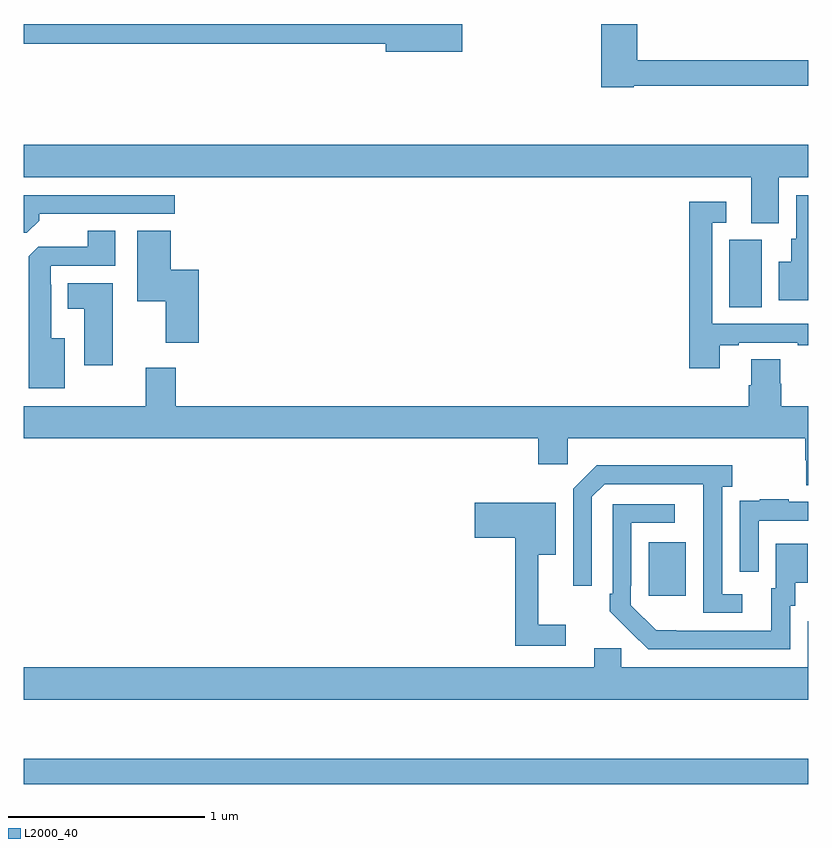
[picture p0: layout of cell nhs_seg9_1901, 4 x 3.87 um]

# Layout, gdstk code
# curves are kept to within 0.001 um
import gdstk
lib = gdstk.Library(unit=1e-6, precision=1e-09)
def R(c, l, rs):  # rectangles x0, y0, x1, y1
    for r in rs: c.add(gdstk.rectangle(r[:2], r[2:], *l))
def P(c, l, *ps):  # polygons
    for p in ps: c.add(gdstk.Polygon(p, *l))
L2000_40 = (2000, 40)

nhs_seg9_1901 = lib.new_cell('nhs_seg9_1901')
R(nhs_seg9_1901, L2000_40, [(217,1226.626,221,1226.755), (220.187,1227.585,220.375,1227.859), (220.598,1229.056,220.762,1229.4)])
P(nhs_seg9_1901, L2000_40, [(219.235,1230.5),(217,1230.5),(217,1230.4),(218.846,1230.4),(218.846,1230.358),(219.235,1230.358)],
  [(220.11,1230.186),(221,1230.186),(221,1230.314),(220.127,1230.314),(220.127,1230.5),(219.944,1230.5),(219.944,1230.178),(220.11,1230.178)],
  [(220.849,1229.72),(221,1229.72),(221,1229.884),(217,1229.884),(217,1229.72),(220.709,1229.72),(220.709,1229.485),(220.849,1229.485)],
  [(217.079,1229.498),(217.079,1229.532),(217.771,1229.532),(217.771,1229.628),(217,1229.628),(217,1229.436),(217.017,1229.436)],
  [(221,1229.628),(220.938,1229.628),(220.938,1229.406),(220.913,1229.406),(220.913,1229.287),(220.85,1229.287),(220.85,1229.091),(221,1229.091)],
  [(220.549,1228.863),(220.645,1228.863),(220.645,1228.875),(220.945,1228.875),(220.945,1228.863),(221,1228.863),(221,1228.971),(220.509,1228.971),(220.509,1229.487),(220.582,1229.487),(220.582,1229.593),(220.393,1229.593),(220.393,1228.746),(220.549,1228.746)],
  [(217.21,1228.897),(217.141,1228.897),(217.141,1229.171),(217.137,1229.171),(217.137,1229.268),(217.468,1229.268),(217.468,1229.447),(217.328,1229.447),(217.328,1229.364),(217.074,1229.364),(217.025,1229.315),(217.025,1228.643),(217.21,1228.643)],
  [(217.892,1229.248),(217.751,1229.248),(217.751,1229.446),(217.58,1229.446),(217.58,1229.086),(217.724,1229.086),(217.724,1228.875),(217.892,1228.875)],
  [(217.453,1229.179),(217.226,1229.179),(217.226,1229.048),(217.31,1229.048),(217.31,1228.761),(217.453,1228.761)],
  [(221,1228.552),(220.862,1228.552),(220.862,1228.665),(220.857,1228.665),(220.857,1228.79),(220.709,1228.79),(220.709,1228.658),(220.697,1228.658),(220.697,1228.552),(217.775,1228.552),(217.775,1228.747),(217.622,1228.747),(217.622,1228.552),(217,1228.552),(217,1228.388),(219.623,1228.388),(219.623,1228.257),(219.774,1228.257),(219.774,1228.388),(220.985,1228.388),(220.985,1228.275),(220.99,1228.275),(220.99,1228.15),(221,1228.15)],
  [(220.663,1227.594),(220.56,1227.594),(220.56,1228.142),(220.612,1228.142),(220.612,1228.252),(219.922,1228.252),(219.801,1228.131),(219.801,1227.636),(219.897,1227.636),(219.897,1228.089),(219.963,1228.155),(220.463,1228.155),(220.464,1227.498),(220.663,1227.498)],
  [(220.746,1227.969),(221,1227.969),(221,1228.065),(220.901,1228.065),(220.901,1228.078),(220.753,1228.078),(220.753,1228.071),(220.651,1228.071),(220.651,1227.962),(220.65,1227.962),(220.65,1227.708),(220.746,1227.708)],
  [(219.763,1227.439),(219.623,1227.439),(219.623,1227.794),(219.712,1227.794),(219.712,1228.059),(219.3,1228.059),(219.3,1227.881),(219.505,1227.881),(219.505,1227.33),(219.763,1227.33)],
  [(220.908,1227.534),(220.933,1227.534),(220.933,1227.653),(220.996,1227.653),(220.996,1227.85),(220.835,1227.85),(220.835,1227.624),(220.811,1227.624),(220.811,1227.408),(220.224,1227.409),(220.095,1227.537),(220.095,1227.637),(220.098,1227.637),(220.098,1227.957),(220.318,1227.957),(220.318,1228.053),(220.002,1228.053),(220.002,1227.595),(219.987,1227.595),(219.987,1227.507),(220.184,1227.312),(220.908,1227.312)],
  [(221,1227.456),(220.997,1227.456),(220.997,1227.22),(220.047,1227.22),(220.047,1227.318),(219.908,1227.318),(219.908,1227.22),(217,1227.22),(217,1227.056),(221,1227.056)])

lib.write_gds('nhs_seg9_1901.gds')
